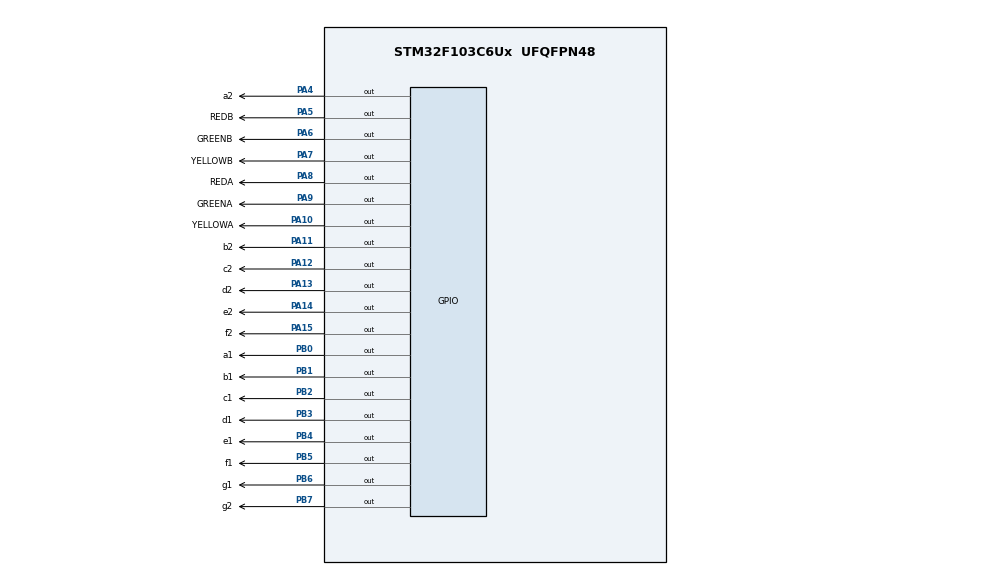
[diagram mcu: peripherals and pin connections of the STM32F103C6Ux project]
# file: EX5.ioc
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Mcu.Family=STM32F1
Mcu.Name=STM32F103C6Ux
Mcu.Package=UFQFPN48
NVIC.PriorityGroup=NVIC_PRIORITYGROUP_4
PA10.GPIO_Label=YELLOWA
PA10.Signal=GPIO_Output
PA11.GPIO_Label=b2
PA11.Signal=GPIO_Output
PA12.GPIO_Label=c2
PA12.Signal=GPIO_Output
PA13.GPIO_Label=d2
PA13.Signal=GPIO_Output
PA14.GPIO_Label=e2
PA14.Signal=GPIO_Output
PA15.GPIO_Label=f2
PA15.Signal=GPIO_Output
PA4.GPIO_Label=a2
PA4.Signal=GPIO_Output
PA5.GPIO_Label=REDB
PA5.Signal=GPIO_Output
PA6.GPIO_Label=GREENB
PA6.Signal=GPIO_Output
PA7.GPIO_Label=YELLOWB
PA7.Signal=GPIO_Output
PA8.GPIO_Label=REDA
PA8.Signal=GPIO_Output
PA9.GPIO_Label=GREENA
PA9.Signal=GPIO_Output
PB0.GPIO_Label=a1
PB0.Signal=GPIO_Output
PB1.GPIO_Label=b1
PB1.Signal=GPIO_Output
PB2.GPIO_Label=c1
PB2.Signal=GPIO_Output
PB3.GPIO_Label=d1
PB3.Signal=GPIO_Output
PB4.GPIO_Label=e1
PB4.Signal=GPIO_Output
PB5.GPIO_Label=f1
PB5.Signal=GPIO_Output
PB6.GPIO_Label=g1
PB6.Signal=GPIO_Output
PB7.GPIO_Label=g2
PB7.Signal=GPIO_Output
ProjectManager.HeapSize=0x200
ProjectManager.StackSize=0x400
ProjectManager.TargetToolchain=STM32CubeIDE
RCC.APB1Freq_Value=8000000
RCC.APB2Freq_Value=8000000
VP_SYS_VS_ND.Mode=No_Debug
board=custom

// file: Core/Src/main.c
/* USER CODE BEGIN Header */
/**
  ******************************************************************************
  * @file           : main.c
  * @brief          : Main program body
  ******************************************************************************
  * @attention
  *
  * <h2><center>&copy; Copyright (c) 2024 STMicroelectronics.
  * All rights reserved.</center></h2>
  *
  * This software component is licensed by ST under BSD 3-Clause license,
  * the "License"; You may not use this file except in compliance with the
  * License. You may obtain a copy of the License at:
  *                        opensource.org/licenses/BSD-3-Clause
  *
  ******************************************************************************
  */
/* USER CODE END Header */
#include "main.h"

void SystemClock_Config(void);
static void MX_GPIO_Init(void);

/* USER CODE BEGIN 0 */
void display7SEG_Group1(int num);
void display7SEG_Group2(int num);

void display7SEG_Group1(int num)
{
	if(num == 0)
	{
		HAL_GPIO_WritePin(a1_GPIO_Port, a1_Pin, GPIO_PIN_RESET);
		HAL_GPIO_WritePin(b1_GPIO_Port, b1_Pin, GPIO_PIN_RESET);
		HAL_GPIO_WritePin(c1_GPIO_Port, c1_Pin, GPIO_PIN_RESET);
		HAL_GPIO_WritePin(d1_GPIO_Port, d1_Pin, GPIO_PIN_RESET);
		HAL_GPIO_WritePin(e1_GPIO_Port, e1_Pin, GPIO_PIN_RESET);
		HAL_GPIO_WritePin(f1_GPIO_Port, f1_Pin, GPIO_PIN_RESET);
		HAL_GPIO_WritePin(g1_GPIO_Port, g1_Pin, GPIO_PIN_SET);
	}
	if(num == 1)
	{
		HAL_GPIO_WritePin(a1_GPIO_Port, a1_Pin, GPIO_PIN_SET);
		HAL_GPIO_WritePin(b1_GPIO_Port, b1_Pin, GPIO_PIN_RESET);
		HAL_GPIO_WritePin(c1_GPIO_Port, c1_Pin, GPIO_PIN_RESET);
		HAL_GPIO_WritePin(d1_GPIO_Port, d1_Pin, GPIO_PIN_SET);
		HAL_GPIO_WritePin(e1_GPIO_Port, e1_Pin, GPIO_PIN_SET);
		HAL_GPIO_WritePin(f1_GPIO_Port, f1_Pin, GPIO_PIN_SET);
		HAL_GPIO_WritePin(g1_GPIO_Port, g1_Pin, GPIO_PIN_SET);
	}
	if(num == 2)
	{
		HAL_GPIO_WritePin(a1_GPIO_Port, a1_Pin, GPIO_PIN_RESET);
		HAL_GPIO_WritePin(b1_GPIO_Port, b1_Pin, GPIO_PIN_RESET);
		HAL_GPIO_WritePin(c1_GPIO_Port, c1_Pin, GPIO_PIN_SET);
		HAL_GPIO_WritePin(d1_GPIO_Port, d1_Pin, GPIO_PIN_RESET);
		HAL_GPIO_WritePin(e1_GPIO_Port, e1_Pin, GPIO_PIN_RESET);
		HAL_GPIO_WritePin(f1_GPIO_Port, f1_Pin, GPIO_PIN_SET);
		HAL_GPIO_WritePin(g1_GPIO_Port, g1_Pin, GPIO_PIN_RESET);

	}
	if(num == 3)
	{
		HAL_GPIO_WritePin(a1_GPIO_Port, a1_Pin, GPIO_PIN_RESET);
		HAL_GPIO_WritePin(b1_GPIO_Port, b1_Pin, GPIO_PIN_RESET);
		HAL_GPIO_WritePin(c1_GPIO_Port, c1_Pin, GPIO_PIN_RESET);
		HAL_GPIO_WritePin(d1_GPIO_Port, d1_Pin, GPIO_PIN_RESET);
		HAL_GPIO_WritePin(e1_GPIO_Port, e1_Pin, GPIO_PIN_SET);
		HAL_GPIO_WritePin(f1_GPIO_Port, f1_Pin, GPIO_PIN_SET);
		HAL_GPIO_WritePin(g1_GPIO_Port, g1_Pin, GPIO_PIN_RESET);

	}
	if(num == 4)
	{
		HAL_GPIO_WritePin(a1_GPIO_Port, a1_Pin, GPIO_PIN_SET);
		HAL_GPIO_WritePin(b1_GPIO_Port, b1_Pin, GPIO_PIN_RESET);
		HAL_GPIO_WritePin(c1_GPIO_Port, c1_Pin, GPIO_PIN_RESET);
		HAL_GPIO_WritePin(d1_GPIO_Port, d1_Pin, GPIO_PIN_SET);
		HAL_GPIO_WritePin(e1_GPIO_Port, e1_Pin, GPIO_PIN_SET);
		HAL_GPIO_WritePin(f1_GPIO_Port, f1_Pin, GPIO_PIN_RESET);
		HAL_GPIO_WritePin(g1_GPIO_Port, g1_Pin, GPIO_PIN_RESET);

	}
	if(num == 5)
	{
		HAL_GPIO_WritePin(a1_GPIO_Port, a1_Pin, GPIO_PIN_RESET);
		HAL_GPIO_WritePin(b1_GPIO_Port, b1_Pin, GPIO_PIN_SET);
		HAL_GPIO_WritePin(c1_GPIO_Port, c1_Pin, GPIO_PIN_RESET);
		HAL_GPIO_WritePin(d1_GPIO_Port, d1_Pin, GPIO_PIN_RESET);
		HAL_GPIO_WritePin(e1_GPIO_Port, e1_Pin, GPIO_PIN_SET);
		HAL_GPIO_WritePin(f1_GPIO_Port, f1_Pin, GPIO_PIN_RESET);
		HAL_GPIO_WritePin(g1_GPIO_Port, g1_Pin, GPIO_PIN_RESET);
	}
	if(num == 6)
	{
		HAL_GPIO_WritePin(a1_GPIO_Port, a1_Pin, GPIO_PIN_RESET);
		HAL_GPIO_WritePin(b1_GPIO_Port, b1_Pin, GPIO_PIN_SET);
		HAL_GPIO_WritePin(c1_GPIO_Port, c1_Pin, GPIO_PIN_RESET);
		HAL_GPIO_WritePin(d1_GPIO_Port, d1_Pin, GPIO_PIN_RESET);
		HAL_GPIO_WritePin(e1_GPIO_Port, e1_Pin, GPIO_PIN_RESET);
		HAL_GPIO_WritePin(f1_GPIO_Port, f1_Pin, GPIO_PIN_RESET);
		HAL_GPIO_WritePin(g1_GPIO_Port, g1_Pin, GPIO_PIN_RESET);
	}
	if(num == 7)
	{
		HAL_GPIO_WritePin(a1_GPIO_Port, a1_Pin, GPIO_PIN_RESET);
		HAL_GPIO_WritePin(b1_GPIO_Port, b1_Pin, GPIO_PIN_RESET);
		HAL_GPIO_WritePin(c1_GPIO_Port, c1_Pin, GPIO_PIN_RESET);
		HAL_GPIO_WritePin(d1_GPIO_Port, d1_Pin, GPIO_PIN_SET);
		HAL_GPIO_WritePin(e1_GPIO_Port, e1_Pin, GPIO_PIN_SET);
		HAL_GPIO_WritePin(f1_GPIO_Port, f1_Pin, GPIO_PIN_SET);
		HAL_GPIO_WritePin(g1_GPIO_Port, g1_Pin, GPIO_PIN_SET);
	}
	if(num == 8)
	{
		HAL_GPIO_WritePin(a1_GPIO_Port, a1_Pin, GPIO_PIN_RESET);
		HAL_GPIO_WritePin(b1_GPIO_Port, b1_Pin, GPIO_PIN_RESET);
		HAL_GPIO_WritePin(c1_GPIO_Port, c1_Pin, GPIO_PIN_RESET);
		HAL_GPIO_WritePin(d1_GPIO_Port, d1_Pin, GPIO_PIN_RESET);
		HAL_GPIO_WritePin(e1_GPIO_Port, e1_Pin, GPIO_PIN_RESET);
		HAL_GPIO_WritePin(f1_GPIO_Port, f1_Pin, GPIO_PIN_RESET);
		HAL_GPIO_WritePin(g1_GPIO_Port, g1_Pin, GPIO_PIN_RESET);
	}
	if(num == 9)
	{
		HAL_GPIO_WritePin(a1_GPIO_Port, a1_Pin, GPIO_PIN_RESET);
		HAL_GPIO_WritePin(b1_GPIO_Port, b1_Pin, GPIO_PIN_RESET);
		HAL_GPIO_WritePin(c1_GPIO_Port, c1_Pin, GPIO_PIN_RESET);
		HAL_GPIO_WritePin(d1_GPIO_Port, d1_Pin, GPIO_PIN_RESET);
		HAL_GPIO_WritePin(e1_GPIO_Port, e1_Pin, GPIO_PIN_SET);
		HAL_GPIO_WritePin(f1_GPIO_Port, f1_Pin, GPIO_PIN_RESET);
		HAL_GPIO_WritePin(g1_GPIO_Port, g1_Pin, GPIO_PIN_RESET);
	}
}

void display7SEG_Group2(int num)
{
	if(num == 0)
	{

		HAL_GPIO_WritePin(a2_GPIO_Port, a2_Pin, GPIO_PIN_RESET);
		HAL_GPIO_WritePin(b2_GPIO_Port, b2_Pin, GPIO_PIN_RESET);
		HAL_GPIO_WritePin(c2_GPIO_Port, c2_Pin, GPIO_PIN_RESET);
		HAL_GPIO_WritePin(d2_GPIO_Port, d2_Pin, GPIO_PIN_RESET);
		HAL_GPIO_WritePin(e2_GPIO_Port, e2_Pin, GPIO_PIN_RESET);
		HAL_GPIO_WritePin(f2_GPIO_Port, f2_Pin, GPIO_PIN_RESET);
		HAL_GPIO_WritePin(g2_GPIO_Port, g2_Pin, GPIO_PIN_SET);
	}
	if(num == 1)
	{

		HAL_GPIO_WritePin(a2_GPIO_Port, a2_Pin, GPIO_PIN_SET);
		HAL_GPIO_WritePin(b2_GPIO_Port, b2_Pin, GPIO_PIN_RESET);
		HAL_GPIO_WritePin(c2_GPIO_Port, c2_Pin, GPIO_PIN_RESET);
		HAL_GPIO_WritePin(d2_GPIO_Port, d2_Pin, GPIO_PIN_SET);
		HAL_GPIO_WritePin(e2_GPIO_Port, e2_Pin, GPIO_PIN_SET);
		HAL_GPIO_WritePin(f2_GPIO_Port, f2_Pin, GPIO_PIN_SET);
		HAL_GPIO_WritePin(g2_GPIO_Port, g2_Pin, GPIO_PIN_SET);
	}
	if(num == 2)
	{

		HAL_GPIO_WritePin(a2_GPIO_Port, a2_Pin, GPIO_PIN_RESET);
		HAL_GPIO_WritePin(b2_GPIO_Port, b2_Pin, GPIO_PIN_RESET);
		HAL_GPIO_WritePin(c2_GPIO_Port, c2_Pin, GPIO_PIN_SET);
		HAL_GPIO_WritePin(d2_GPIO_Port, d2_Pin, GPIO_PIN_RESET);
		HAL_GPIO_WritePin(e2_GPIO_Port, e2_Pin, GPIO_PIN_RESET);
		HAL_GPIO_WritePin(f2_GPIO_Port, f2_Pin, GPIO_PIN_SET);
		HAL_GPIO_WritePin(g2_GPIO_Port, g2_Pin, GPIO_PIN_RESET);

	}
	if(num == 3)
	{

		HAL_GPIO_WritePin(a2_GPIO_Port, a2_Pin, GPIO_PIN_RESET);
		HAL_GPIO_WritePin(b2_GPIO_Port, b2_Pin, GPIO_PIN_RESET);
		HAL_GPIO_WritePin(c2_GPIO_Port, c2_Pin, GPIO_PIN_RESET);
		HAL_GPIO_WritePin(d2_GPIO_Port, d2_Pin, GPIO_PIN_RESET);
		HAL_GPIO_WritePin(e2_GPIO_Port, e2_Pin, GPIO_PIN_SET);
		HAL_GPIO_WritePin(f2_GPIO_Port, f2_Pin, GPIO_PIN_SET);
		HAL_GPIO_WritePin(g2_GPIO_Port, g2_Pin, GPIO_PIN_RESET);

	}
	if(num == 4)
	{
		HAL_GPIO_WritePin(a2_GPIO_Port, a2_Pin, GPIO_PIN_SET);
		HAL_GPIO_WritePin(b2_GPIO_Port, b2_Pin, GPIO_PIN_RESET);
		HAL_GPIO_WritePin(c2_GPIO_Port, c2_Pin, GPIO_PIN_RESET);
		HAL_GPIO_WritePin(d2_GPIO_Port, d2_Pin, GPIO_PIN_SET);
		HAL_GPIO_WritePin(e2_GPIO_Port, e2_Pin, GPIO_PIN_SET);
		HAL_GPIO_WritePin(f2_GPIO_Port, f2_Pin, GPIO_PIN_RESET);
		HAL_GPIO_WritePin(g2_GPIO_Port, g2_Pin, GPIO_PIN_RESET);
	}
	if(num == 5)
	{

		HAL_GPIO_WritePin(a2_GPIO_Port, a2_Pin, GPIO_PIN_RESET);
		HAL_GPIO_WritePin(b2_GPIO_Port, b2_Pin, GPIO_PIN_SET);
		HAL_GPIO_WritePin(c2_GPIO_Port, c2_Pin, GPIO_PIN_RESET);
		HAL_GPIO_WritePin(d2_GPIO_Port, d2_Pin, GPIO_PIN_RESET);
		HAL_GPIO_WritePin(e2_GPIO_Port, e2_Pin, GPIO_PIN_SET);
		HAL_GPIO_WritePin(f2_GPIO_Port, f2_Pin, GPIO_PIN_RESET);
		HAL_GPIO_WritePin(g2_GPIO_Port, g2_Pin, GPIO_PIN_RESET);
	}
	if(num == 6)
	{
		HAL_GPIO_WritePin(a2_GPIO_Port, a2_Pin, GPIO_PIN_RESET);
		HAL_GPIO_WritePin(b2_GPIO_Port, b2_Pin, GPIO_PIN_SET);
		HAL_GPIO_WritePin(c2_GPIO_Port, c2_Pin, GPIO_PIN_RESET);
		HAL_GPIO_WritePin(d2_GPIO_Port, d2_Pin, GPIO_PIN_RESET);
		HAL_GPIO_WritePin(e2_GPIO_Port, e2_Pin, GPIO_PIN_RESET);
		HAL_GPIO_WritePin(f2_GPIO_Port, f2_Pin, GPIO_PIN_RESET);
		HAL_GPIO_WritePin(g2_GPIO_Port, g2_Pin, GPIO_PIN_RESET);
	}
	if(num == 7)
	{

		HAL_GPIO_WritePin(a2_GPIO_Port, a2_Pin, GPIO_PIN_RESET);
		HAL_GPIO_WritePin(b2_GPIO_Port, b2_Pin, GPIO_PIN_RESET);
		HAL_GPIO_WritePin(c2_GPIO_Port, c2_Pin, GPIO_PIN_RESET);
		HAL_GPIO_WritePin(d2_GPIO_Port, d2_Pin, GPIO_PIN_SET);
		HAL_GPIO_WritePin(e2_GPIO_Port, e2_Pin, GPIO_PIN_SET);
		HAL_GPIO_WritePin(f2_GPIO_Port, f2_Pin, GPIO_PIN_SET);
		HAL_GPIO_WritePin(g2_GPIO_Port, g2_Pin, GPIO_PIN_SET);

	}
	if(num == 8)
	{
		HAL_GPIO_WritePin(a2_GPIO_Port, a2_Pin, GPIO_PIN_RESET);
		HAL_GPIO_WritePin(b2_GPIO_Port, b2_Pin, GPIO_PIN_RESET);
		HAL_GPIO_WritePin(c2_GPIO_Port, c2_Pin, GPIO_PIN_RESET);
		HAL_GPIO_WritePin(d2_GPIO_Port, d2_Pin, GPIO_PIN_RESET);
		HAL_GPIO_WritePin(e2_GPIO_Port, e2_Pin, GPIO_PIN_RESET);
		HAL_GPIO_WritePin(f2_GPIO_Port, f2_Pin, GPIO_PIN_RESET);
		HAL_GPIO_WritePin(g2_GPIO_Port, g2_Pin, GPIO_PIN_RESET);
	}
	if(num == 9)
	{
		HAL_GPIO_WritePin(a2_GPIO_Port, a2_Pin, GPIO_PIN_RESET);
		HAL_GPIO_WritePin(b2_GPIO_Port, b2_Pin, GPIO_PIN_RESET);
		HAL_GPIO_WritePin(c2_GPIO_Port, c2_Pin, GPIO_PIN_RESET);
		HAL_GPIO_WritePin(d2_GPIO_Port, d2_Pin, GPIO_PIN_RESET);
		HAL_GPIO_WritePin(e2_GPIO_Port, e2_Pin, GPIO_PIN_SET);
		HAL_GPIO_WritePin(f2_GPIO_Port, f2_Pin, GPIO_PIN_RESET);
		HAL_GPIO_WritePin(g2_GPIO_Port, g2_Pin, GPIO_PIN_RESET);
	}
}
/* USER CODE END 0 */

int main(void)
{

  /* MCU Configuration--------------------------------------------------------*/

  /* Reset of all peripherals, Initializes the Flash interface and the Systick. */
  HAL_Init();

  /* Configure the system clock */
  SystemClock_Config();

  /* Initialize all configured peripherals */
  MX_GPIO_Init();

  /* Infinite loop */
  /* USER CODE BEGIN WHILE */
  int Yellow1 = 2;
   int Red1 = 4;
   int Green1 = 3;

   int Status_Yellow1 = 0;
   int Status_Red1 = 0;
   int Status_Green1 = 1;

   int Yellow2= 1;
   int Red2 = 5;
   int Green2 = 3;

   int Status_Yellow2 = 0;
   int Status_Red2 = 1;
   int Status_Green2 = 0;
  while (1)
  {
	  if(Status_Green1 == 1)
	 	  {
	 		  display7SEG_Group1(Green1);
	 		  HAL_GPIO_WritePin(GREENA_GPIO_Port,GREENA_Pin,GPIO_PIN_SET);
	 		  HAL_GPIO_WritePin(REDA_GPIO_Port,REDA_Pin,GPIO_PIN_RESET);

	 		  if(Green1 == 0)
	 		  {
	 			 Status_Green1 = 0;
	 			 Green1 = 4;
	 			 HAL_GPIO_WritePin(GREENA_GPIO_Port,GREENA_Pin,GPIO_PIN_RESET);
	 			 Status_Yellow1 = 1;
	 		  }
	 		  Green1 --;

	 	  }
	 	  if(Status_Yellow1 == 1)
	 	  {
	 		  display7SEG_Group1(Yellow1);
	 		  HAL_GPIO_WritePin(YELLOWA_GPIO_Port,YELLOWA_Pin,GPIO_PIN_SET);
	 		  if(Yellow1 == 0)
	 		  {
	 			  Status_Yellow1 = 0;
	 			  Yellow1 = 3;
	 			  HAL_GPIO_WritePin(YELLOWA_GPIO_Port,YELLOWA_Pin,GPIO_PIN_RESET);
	 			  Status_Red1 = 1;
	 		  }
	 		  Yellow1 --;
	 	  }

	 	  if(Status_Red1 == 1)
	 	  {
	 		  display7SEG_Group1(Red1 + 1);
	 		  HAL_GPIO_WritePin(REDA_GPIO_Port,REDA_Pin,GPIO_PIN_SET);

	 		  if(Red1 == 0)
	 		  {
	 			  Status_Red1 = 0;
	 			  Red1 = 5;
	 			  Status_Green1 = 1;
	 		  }
	 		  Red1 --;
	 	  }
	 	  if(Status_Red2 == 1)
	 	  {
	 		  display7SEG_Group2(Red2);
	 		  HAL_GPIO_WritePin(REDB_GPIO_Port, REDB_Pin, GPIO_PIN_SET);
	 		  HAL_GPIO_WritePin(YELLOWB_GPIO_Port,YELLOWB_Pin,GPIO_PIN_RESET);

	 		  if(Red2 == 0)
	 		  {
	 			 Status_Red2 = 0;
	 			 Red2 = 6;
	 			 HAL_GPIO_WritePin(REDB_GPIO_Port,REDB_Pin,GPIO_PIN_RESET);
	 			 Status_Green2 = 1;
	 		  }
	 		  Red2 --;
	 	  }

	 	  if(Status_Green2 == 1)
	 	  {
	 		  display7SEG_Group2(Green2);
	 		  HAL_GPIO_WritePin(GREENB_GPIO_Port,GREENB_Pin,GPIO_PIN_SET);

	 		  if(Green2 == 0)
	 		  {
	 			 Status_Green2 = 0;
	 			 Green2 = 4;
	 			 HAL_GPIO_WritePin(GREENB_GPIO_Port,GREENB_Pin,GPIO_PIN_RESET);
	 			 Status_Yellow2 = 1;
	 		  }
	 		  Green2 --;
	 	  }
	 	  if(Status_Yellow2 == 1)
	 	  {
	 		  display7SEG_Group2(Yellow2+ 1);
	 		  HAL_GPIO_WritePin(YELLOWB_GPIO_Port,YELLOWB_Pin,GPIO_PIN_SET);

	 		  if(Yellow2== 0)
	 		  {
	 			  Status_Yellow2 = 0;
	 			  Yellow2= 2;
	 			  Status_Red2 = 1;
	 		  }
	 		  Yellow2--;
	 	  }

	 	  HAL_Delay(1000);
    /* USER CODE END WHILE */

  }
}

void SystemClock_Config(void)
{
  RCC_OscInitTypeDef RCC_OscInitStruct = {0};
  RCC_ClkInitTypeDef RCC_ClkInitStruct = {0};

  /** Initializes the RCC Oscillators according to the specified parameters
  * in the RCC_OscInitTypeDef structure.
  */
  RCC_OscInitStruct.OscillatorType = RCC_OSCILLATORTYPE_HSI;
  RCC_OscInitStruct.HSIState = RCC_HSI_ON;
  RCC_OscInitStruct.HSICalibrationValue = RCC_HSICALIBRATION_DEFAULT;
  RCC_OscInitStruct.PLL.PLLState = RCC_PLL_NONE;
  if (HAL_RCC_OscConfig(&RCC_OscInitStruct) != HAL_OK)
  {
    Error_Handler();
  }
  /** Initializes the CPU, AHB and APB buses clocks
  */
  RCC_ClkInitStruct.ClockType = RCC_CLOCKTYPE_HCLK|RCC_CLOCKTYPE_SYSCLK
                              |RCC_CLOCKTYPE_PCLK1|RCC_CLOCKTYPE_PCLK2;
  RCC_ClkInitStruct.SYSCLKSource = RCC_SYSCLKSOURCE_HSI;
  RCC_ClkInitStruct.AHBCLKDivider = RCC_SYSCLK_DIV1;
  RCC_ClkInitStruct.APB1CLKDivider = RCC_HCLK_DIV1;
  RCC_ClkInitStruct.APB2CLKDivider = RCC_HCLK_DIV1;

  if (HAL_RCC_ClockConfig(&RCC_ClkInitStruct, FLASH_LATENCY_0) != HAL_OK)
  {
    Error_Handler();
  }
}

static void MX_GPIO_Init(void)
{
  GPIO_InitTypeDef GPIO_InitStruct = {0};

  /* GPIO Ports Clock Enable */
  __HAL_RCC_GPIOA_CLK_ENABLE();
  __HAL_RCC_GPIOB_CLK_ENABLE();

  /*Configure GPIO pin Output Level */
  HAL_GPIO_WritePin(GPIOA, a2_Pin|REDB_Pin|GREENB_Pin|YELLOWB_Pin
                          |REDA_Pin|GREENA_Pin|YELLOWA_Pin|b2_Pin
                          |c2_Pin|d2_Pin|e2_Pin|f2_Pin, GPIO_PIN_RESET);

  /*Configure GPIO pin Output Level */
  HAL_GPIO_WritePin(GPIOB, a1_Pin|b1_Pin|c1_Pin|d1_Pin
                          |e1_Pin|f1_Pin|g1_Pin|g2_Pin, GPIO_PIN_RESET);

  /*Configure GPIO pins : a2_Pin REDB_Pin GREENB_Pin YELLOWB_Pin
                           REDA_Pin GREENA_Pin YELLOWA_Pin b2_Pin
                           c2_Pin d2_Pin e2_Pin f2_Pin */
  GPIO_InitStruct.Pin = a2_Pin|REDB_Pin|GREENB_Pin|YELLOWB_Pin
                          |REDA_Pin|GREENA_Pin|YELLOWA_Pin|b2_Pin
                          |c2_Pin|d2_Pin|e2_Pin|f2_Pin;
  GPIO_InitStruct.Mode = GPIO_MODE_OUTPUT_PP;
  GPIO_InitStruct.Pull = GPIO_NOPULL;
  GPIO_InitStruct.Speed = GPIO_SPEED_FREQ_LOW;
  HAL_GPIO_Init(GPIOA, &GPIO_InitStruct);

  /*Configure GPIO pins : a1_Pin b1_Pin c1_Pin d1_Pin
                           e1_Pin f1_Pin g1_Pin g2_Pin */
  GPIO_InitStruct.Pin = a1_Pin|b1_Pin|c1_Pin|d1_Pin
                          |e1_Pin|f1_Pin|g1_Pin|g2_Pin;
  GPIO_InitStruct.Mode = GPIO_MODE_OUTPUT_PP;
  GPIO_InitStruct.Pull = GPIO_NOPULL;
  GPIO_InitStruct.Speed = GPIO_SPEED_FREQ_LOW;
  HAL_GPIO_Init(GPIOB, &GPIO_InitStruct);

}

void Error_Handler(void)
{
  __disable_irq();
  while (1)
  {
  }
}

/************************ (C) COPYRIGHT STMicroelectronics *****END OF FILE****/
